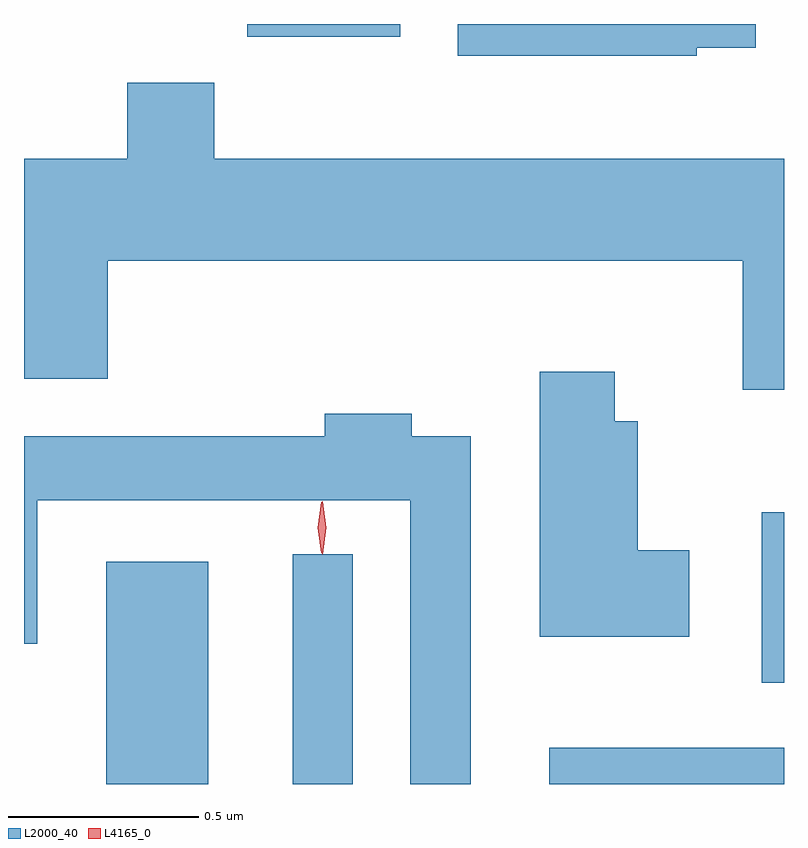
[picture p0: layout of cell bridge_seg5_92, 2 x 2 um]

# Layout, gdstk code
import gdstk
lib = gdstk.Library(unit=1e-6, precision=1e-09)
def R(c, l, rs):  # rectangles x0, y0, x1, y1
    for r in rs: c.add(gdstk.rectangle(r[:2], r[2:], *l))
def P(c, l, *ps):  # polygons
    for p in ps: c.add(gdstk.Polygon(p, *l))
L2000_40 = (2000, 40)
L4165_0 = (4165, 0)

bridge_seg5_92 = lib.new_cell('bridge_seg5_92')
R(bridge_seg5_92, L2000_40, [(1219.446,1479.839,1219.714,1480.424), (1219.936,1479.839,1220.094,1480.443), (1220.611,1479.839,1221.229,1479.934), (1221.171,1480.106,1221.229,1480.554), (1219.816,1481.806,1220.219,1481.839)])
P(bridge_seg5_92, L2000_40, [(1220.999,1481.776),(1221.154,1481.776),(1221.154,1481.839),(1220.371,1481.839),(1220.371,1481.756),(1220.999,1481.756)],
  [(1221.229,1481.484),(1219.729,1481.484),(1219.729,1481.684),(1219.501,1481.684),(1219.501,1481.484),(1219.229,1481.484),(1219.229,1480.906),(1219.449,1480.906),(1219.449,1481.216),(1221.121,1481.216),(1221.121,1480.876),(1221.229,1480.876)],
  [(1220.979,1480.454),(1220.844,1480.454),(1220.844,1480.794),(1220.784,1480.794),(1220.784,1480.924),(1220.586,1480.924),(1220.586,1480.226),(1220.979,1480.226)],
  [(1220.404,1480.754),(1220.249,1480.754),(1220.249,1480.814),(1220.021,1480.814),(1220.021,1480.754),(1219.229,1480.754),(1219.229,1480.208),(1219.264,1480.208),(1219.264,1480.586),(1220.246,1480.586),(1220.246,1479.839),(1220.404,1479.839)])
P(bridge_seg5_92, L4165_0, [(1220.011,1480.447),(1220.002,1480.514),(1220.011,1480.58),(1220.012,1480.58),(1220.012,1480.58),(1220.022,1480.514),(1220.012,1480.447),(1220.012,1480.447)],
  [(1220.014,1480.444),(1220.014,1480.444),(1220.004,1480.513),(1220.014,1480.582),(1220.014,1480.583),(1220.015,1480.582),(1220.024,1480.513),(1220.015,1480.444)])

lib.write_gds('bridge_seg5_92.gds')
